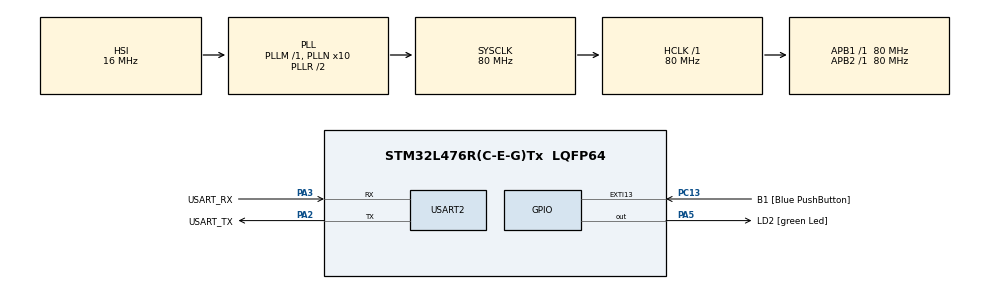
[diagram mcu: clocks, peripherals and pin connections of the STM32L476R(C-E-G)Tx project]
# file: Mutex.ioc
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FREERTOS.BinarySemaphores01=bin_sem,Dynamic,NULL,Available
FREERTOS.INCLUDE_vTaskDelayUntil=1
FREERTOS.Mutexes01=sem_mutex,Dynamic,NULL,Available
FREERTOS.Tasks01=HPT,1,128,HPT_Task,Default,NULL,Dynamic,NULL,NULL;MPT,0,128,MPT_Task,Default,NULL,Dynamic,NULL,NULL;LPT,-1,128,LPT_Task,Default,NULL,Dynamic,NULL,NULL
FREERTOS.Timers01=PDTimer,PDCallback,osTimerPeriodic,Default,NULL,Dynamic,NULL;OTTimer,OTCallback,osTimerOnce,Default,NULL,Dynamic,NULL
FREERTOS.configTIMER_TASK_PRIORITY=6
FREERTOS.configUSE_COUNTING_SEMAPHORES=1
FREERTOS.configUSE_NEWLIB_REENTRANT=1
FREERTOS.configUSE_RECURSIVE_MUTEXES=1
FREERTOS.configUSE_TIMERS=1
Mcu.Family=STM32L4
Mcu.Name=STM32L476R(C-E-G)Tx
Mcu.Package=LQFP64
NVIC.PriorityGroup=NVIC_PRIORITYGROUP_4
NVIC.TIM1_UP_TIM16_IRQn=true\:15\:0\:false\:false\:true\:false\:false\:true\:true
NVIC.TimeBase=TIM1_UP_TIM16_IRQn
NVIC.TimeBaseIP=TIM1
PA13\ (JTMS-SWDIO).GPIO_Label=TMS
PA13\ (JTMS-SWDIO).Mode=Serial_Wire
PA13\ (JTMS-SWDIO).Signal=SYS_JTMS-SWDIO
PA14\ (JTCK-SWCLK).GPIO_Label=TCK
PA14\ (JTCK-SWCLK).Mode=Serial_Wire
PA14\ (JTCK-SWCLK).Signal=SYS_JTCK-SWCLK
PA2.GPIO_Label=USART_TX
PA2.GPIO_Mode=GPIO_MODE_AF_PP
PA2.GPIO_PuPd=GPIO_NOPULL
PA2.GPIO_Speed=GPIO_SPEED_FREQ_VERY_HIGH
PA2.Mode=Asynchronous
PA2.Signal=USART2_TX
PA3.GPIO_Label=USART_RX
PA3.GPIO_Mode=GPIO_MODE_AF_PP
PA3.GPIO_PuPd=GPIO_NOPULL
PA3.GPIO_Speed=GPIO_SPEED_FREQ_VERY_HIGH
PA3.Mode=Asynchronous
PA3.Signal=USART2_RX
PA5.GPIO_Label=LD2 [green Led]
PA5.GPIO_ModeDefaultOutputPP=GPIO_MODE_OUTPUT_PP
PA5.GPIO_PuPd=GPIO_NOPULL
PA5.GPIO_Speed=GPIO_SPEED_FREQ_LOW
PA5.Signal=GPIO_Output
PB3\ (JTDO-TRACESWO).GPIO_Label=SWO
PB3\ (JTDO-TRACESWO).Signal=SYS_JTDO-SWO
PC13.GPIO_Label=B1 [Blue PushButton]
PC13.GPIO_ModeDefaultEXTI=GPIO_MODE_IT_FALLING
PC13.GPIO_PuPd=GPIO_NOPULL
PC13.Signal=GPXTI13
PC14-OSC32_IN\ (PC14).Mode=LSE-External-Oscillator
PC14-OSC32_IN\ (PC14).Signal=RCC_OSC32_IN
PC15-OSC32_OUT\ (PC15).Mode=LSE-External-Oscillator
PC15-OSC32_OUT\ (PC15).Signal=RCC_OSC32_OUT
PH0-OSC_IN\ (PH0).Signal=RCC_OSC_IN
PH1-OSC_OUT\ (PH1).Signal=RCC_OSC_OUT
ProjectManager.HeapSize=0x200
ProjectManager.StackSize=0x400
ProjectManager.TargetToolchain=STM32CubeIDE
RCC.ADCFreq_Value=64000000
RCC.AHBFreq_Value=80000000
RCC.APB1Freq_Value=80000000
RCC.APB1TimFreq_Value=80000000
RCC.APB2Freq_Value=80000000
RCC.APB2TimFreq_Value=80000000
RCC.CortexFreq_Value=80000000
RCC.HCLKFreq_Value=80000000
RCC.HSE_VALUE=8000000
RCC.HSI_VALUE=16000000
RCC.MSI_VALUE=4000000
RCC.PLLN=10
RCC.PLLSourceVirtual=RCC_PLLSOURCE_HSI
RCC.PREFETCH_ENABLE=1
RCC.SYSCLKFreq_VALUE=80000000
RCC.SYSCLKSource=RCC_SYSCLKSOURCE_PLLCLK
RCC.USBFreq_Value=64000000
RCC.VCOOutputFreq_Value=160000000
USART2.VirtualMode-Asynchronous=VM_ASYNC
VP_FREERTOS_VS_CMSIS_V1.Mode=CMSIS_V1
VP_SYS_VS_tim1.Mode=TIM1
board=NUCLEO-L476RG

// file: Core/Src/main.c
/* USER CODE BEGIN Header */
/**
 ******************************************************************************
 * @file           : main.c
 * @brief          : Main program body
 ******************************************************************************
 * @attention
 *
 * Copyright (c) 2025 STMicroelectronics.
 * All rights reserved.
 *
 * This software is licensed under terms that can be found in the LICENSE file
 * in the root directory of this software component.
 * If no LICENSE file comes with this software, it is provided AS-IS.
 *
 ******************************************************************************
 */
/* USER CODE END Header */
#include "main.h"
#include "cmsis_os.h"

/* USER CODE BEGIN Includes */
#include "stdio.h"
#include "string.h"

/* USER CODE END Includes */

UART_HandleTypeDef huart2;

osThreadId HPTHandle;
osThreadId MPTHandle;
osThreadId LPTHandle;
osTimerId PDTimerHandle;
osTimerId OTTimerHandle;
osMutexId sem_mutexHandle;
osSemaphoreId bin_semHandle;

void SystemClock_Config(void);
static void MX_GPIO_Init(void);
static void MX_USART2_UART_Init(void);
void HPT_Task(void const * argument);
void MPT_Task(void const * argument);
void LPT_Task(void const * argument);
void PDCallback(void const * argument);
void OTCallback(void const * argument);

int main(void)
{

  /* MCU Configuration--------------------------------------------------------*/

  /* Reset of all peripherals, Initializes the Flash interface and the Systick. */
  HAL_Init();

  /* Configure the system clock */
  SystemClock_Config();

  /* Initialize all configured peripherals */
  MX_GPIO_Init();
  MX_USART2_UART_Init();

  /* Create the mutex(es) */
  /* definition and creation of sem_mutex */
  osMutexDef(sem_mutex);
  sem_mutexHandle = osMutexCreate(osMutex(sem_mutex));

  /* Create the semaphores(s) */
  /* definition and creation of bin_sem */
  osSemaphoreDef(bin_sem);
  bin_semHandle = osSemaphoreCreate(osSemaphore(bin_sem), 1);

  /* Create the timer(s) */
  /* definition and creation of PDTimer */
  osTimerDef(PDTimer, PDCallback);
  PDTimerHandle = osTimerCreate(osTimer(PDTimer), osTimerPeriodic, NULL);

  /* definition and creation of OTTimer */
  osTimerDef(OTTimer, OTCallback);
  OTTimerHandle = osTimerCreate(osTimer(OTTimer), osTimerOnce, NULL);

  /* Create the thread(s) */
  /* definition and creation of HPT */
  osThreadDef(HPT, HPT_Task, osPriorityAboveNormal, 0, 128);
  HPTHandle = osThreadCreate(osThread(HPT), NULL);

  /* definition and creation of MPT */
  osThreadDef(MPT, MPT_Task, osPriorityNormal, 0, 128);
  MPTHandle = osThreadCreate(osThread(MPT), NULL);

  /* definition and creation of LPT */
  osThreadDef(LPT, LPT_Task, osPriorityBelowNormal, 0, 128);
  LPTHandle = osThreadCreate(osThread(LPT), NULL);

  /* Start scheduler */
  osKernelStart();

  /* We should never get here as control is now taken by the scheduler */

  /* Infinite loop */
	while (1)
	{

	}
}

void SystemClock_Config(void)
{
  RCC_OscInitTypeDef RCC_OscInitStruct = {0};
  RCC_ClkInitTypeDef RCC_ClkInitStruct = {0};

  /** Configure the main internal regulator output voltage
  */
  if (HAL_PWREx_ControlVoltageScaling(PWR_REGULATOR_VOLTAGE_SCALE1) != HAL_OK)
  {
    Error_Handler();
  }

  /** Initializes the RCC Oscillators according to the specified parameters
  * in the RCC_OscInitTypeDef structure.
  */
  RCC_OscInitStruct.OscillatorType = RCC_OSCILLATORTYPE_HSI;
  RCC_OscInitStruct.HSIState = RCC_HSI_ON;
  RCC_OscInitStruct.HSICalibrationValue = RCC_HSICALIBRATION_DEFAULT;
  RCC_OscInitStruct.PLL.PLLState = RCC_PLL_ON;
  RCC_OscInitStruct.PLL.PLLSource = RCC_PLLSOURCE_HSI;
  RCC_OscInitStruct.PLL.PLLM = 1;
  RCC_OscInitStruct.PLL.PLLN = 10;
  RCC_OscInitStruct.PLL.PLLP = RCC_PLLP_DIV7;
  RCC_OscInitStruct.PLL.PLLQ = RCC_PLLQ_DIV2;
  RCC_OscInitStruct.PLL.PLLR = RCC_PLLR_DIV2;
  if (HAL_RCC_OscConfig(&RCC_OscInitStruct) != HAL_OK)
  {
    Error_Handler();
  }

  /** Initializes the CPU, AHB and APB buses clocks
  */
  RCC_ClkInitStruct.ClockType = RCC_CLOCKTYPE_HCLK|RCC_CLOCKTYPE_SYSCLK
                              |RCC_CLOCKTYPE_PCLK1|RCC_CLOCKTYPE_PCLK2;
  RCC_ClkInitStruct.SYSCLKSource = RCC_SYSCLKSOURCE_PLLCLK;
  RCC_ClkInitStruct.AHBCLKDivider = RCC_SYSCLK_DIV1;
  RCC_ClkInitStruct.APB1CLKDivider = RCC_HCLK_DIV1;
  RCC_ClkInitStruct.APB2CLKDivider = RCC_HCLK_DIV1;

  if (HAL_RCC_ClockConfig(&RCC_ClkInitStruct, FLASH_LATENCY_4) != HAL_OK)
  {
    Error_Handler();
  }
}

static void MX_USART2_UART_Init(void)
{

  huart2.Instance = USART2;
  huart2.Init.BaudRate = 115200;
  huart2.Init.WordLength = UART_WORDLENGTH_8B;
  huart2.Init.StopBits = UART_STOPBITS_1;
  huart2.Init.Parity = UART_PARITY_NONE;
  huart2.Init.Mode = UART_MODE_TX_RX;
  huart2.Init.HwFlowCtl = UART_HWCONTROL_NONE;
  huart2.Init.OverSampling = UART_OVERSAMPLING_16;
  huart2.Init.OneBitSampling = UART_ONE_BIT_SAMPLE_DISABLE;
  huart2.AdvancedInit.AdvFeatureInit = UART_ADVFEATURE_NO_INIT;
  if (HAL_UART_Init(&huart2) != HAL_OK)
  {
    Error_Handler();
  }

}

static void MX_GPIO_Init(void)
{
  GPIO_InitTypeDef GPIO_InitStruct = {0};

  /* GPIO Ports Clock Enable */
  __HAL_RCC_GPIOC_CLK_ENABLE();
  __HAL_RCC_GPIOH_CLK_ENABLE();
  __HAL_RCC_GPIOA_CLK_ENABLE();
  __HAL_RCC_GPIOB_CLK_ENABLE();

  /*Configure GPIO pin Output Level */
  HAL_GPIO_WritePin(LD2_GPIO_Port, LD2_Pin, GPIO_PIN_RESET);

  /*Configure GPIO pin : B1_Pin */
  GPIO_InitStruct.Pin = B1_Pin;
  GPIO_InitStruct.Mode = GPIO_MODE_IT_FALLING;
  GPIO_InitStruct.Pull = GPIO_NOPULL;
  HAL_GPIO_Init(B1_GPIO_Port, &GPIO_InitStruct);

  /*Configure GPIO pin : LD2_Pin */
  GPIO_InitStruct.Pin = LD2_Pin;
  GPIO_InitStruct.Mode = GPIO_MODE_OUTPUT_PP;
  GPIO_InitStruct.Pull = GPIO_NOPULL;
  GPIO_InitStruct.Speed = GPIO_SPEED_FREQ_LOW;
  HAL_GPIO_Init(LD2_GPIO_Port, &GPIO_InitStruct);

}

void HPT_Task(void const * argument)
{
  /* USER CODE BEGIN 5 */
	/* Infinite loop */
	osTimerStart(PDTimerHandle, 500);
	for(;;)
	{
		char *str = "HPT task start\n\n";
		HAL_UART_Transmit(&huart2, (uint8_t *)str, strlen(str), 1000);

		osSemaphoreWait(sem_mutexHandle, osWaitForever);
		HAL_UART_Transmit(&huart2, (uint8_t *)"HPT wait key\n\n", 14, 1000);
		while (HAL_GPIO_ReadPin(GPIOC, GPIO_PIN_13))
//		while (!HAL_GPIO_ReadPin(GPIOC, GPIO_PIN_13))
		osSemaphoreRelease(sem_mutexHandle);
		HAL_UART_Transmit(&huart2, (uint8_t *)"HPT release sem\n\n", 17, 1000);

		HAL_UART_Transmit(&huart2, (uint8_t *)"Exit HPT task\n\n", 15, 1000);
		vTaskDelay(500);
	}
  /* USER CODE END 5 */
}

void MPT_Task(void const * argument)
{
  /* USER CODE BEGIN MPT_Task */
	/* Infinite loop */
	for(;;)
	{
		char *str = "MPT task start\n\n";
		HAL_UART_Transmit(&huart2, (uint8_t *)str, strlen(str), 1000);

		HAL_UART_Transmit(&huart2, (uint8_t *)"Exit MPT task\n\n", 15, 1000);
		vTaskDelay(2000);
	}
  /* USER CODE END MPT_Task */
}

void LPT_Task(void const * argument)
{
  /* USER CODE BEGIN LPT_Task */
	/* Infinite loop */
	for(;;)
	{
		char *str = "LPT task start\n\n";
		HAL_UART_Transmit(&huart2, (uint8_t *)str, strlen(str), 1000);

		osSemaphoreWait(sem_mutexHandle, osWaitForever);
		HAL_UART_Transmit(&huart2, (uint8_t *)"LPT wait key\n\n", 14, 1000);
		while (HAL_GPIO_ReadPin(GPIOC, GPIO_PIN_13))
		osSemaphoreRelease(sem_mutexHandle);
		HAL_UART_Transmit(&huart2, (uint8_t *)"LPT release sem\n\n", 17, 1000);

		HAL_UART_Transmit(&huart2, (uint8_t *)"Exit LPT task\n\n", 15, 1000);
		vTaskDelay(3000);
	}
  /* USER CODE END LPT_Task */
}

/* PDCallback function */
void PDCallback(void const * argument)
{
  /* USER CODE BEGIN PDCallback */
	HAL_GPIO_TogglePin(GPIOA, GPIO_PIN_5);

  /* USER CODE END PDCallback */
}

/* OTCallback function */
void OTCallback(void const * argument)
{
}

void HAL_TIM_PeriodElapsedCallback(TIM_HandleTypeDef *htim)
{
  if (htim->Instance == TIM1)
  {
    HAL_IncTick();
  }
}

void Error_Handler(void)
{
	__disable_irq();
	while (1)
	{
	}
}
